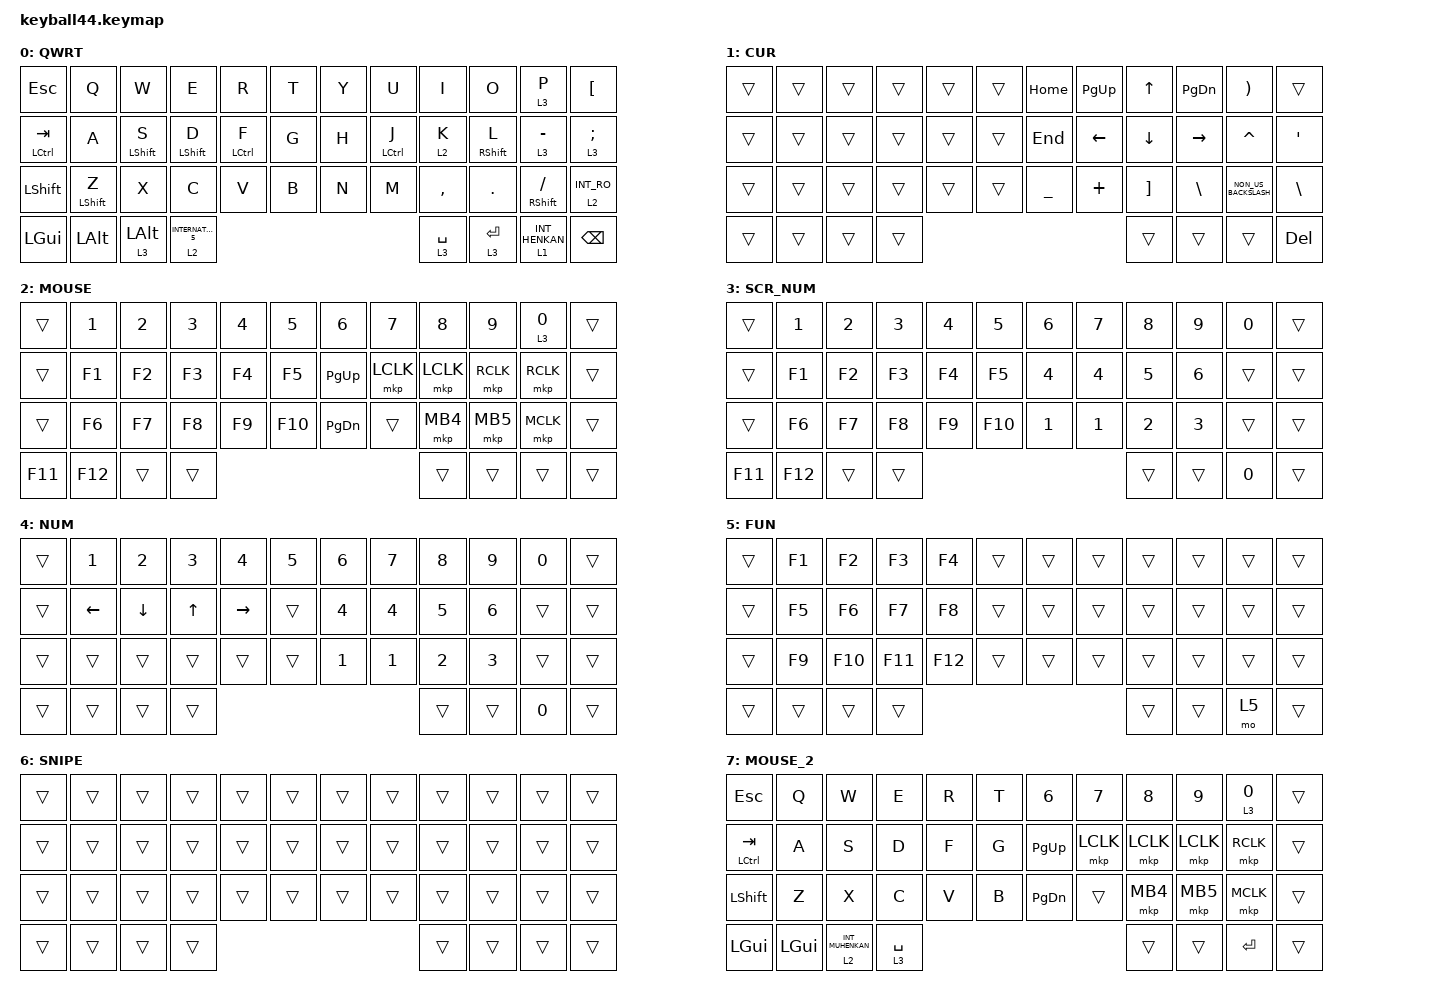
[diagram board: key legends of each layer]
#define DEFAULT 0
#define NUM     1
#define SYM     2
#define FUN     3
#define MOUSE   4
#define SCROLL  5
#define SNIPE   6

#include <behaviors/mouse_keys.dtsi>
#include <dt-bindings/zmk/mouse.h>
#include <behaviors.dtsi>
#include <dt-bindings/zmk/keys.h>
#include <dt-bindings/zmk/pointing.h>

&lt {
    tapping-term-ms = <240>;
    flavor = "balanced";
    quick-tap-ms = <150>;
};

&mt {
    tapping-term-ms = <200>;
    flavor = "tap-preferred";
    quick-tap-ms = <150>;
};

&caps_word { continue-list = <UNDERSCORE MINUS>; };

/ {
    // custom shift using mod-morph 

    behaviors {
        cmqus: comma_question {
            compatible = "zmk,behavior-mod-morph";
            label = "COMMA_QUESTION";
            #binding-cells = <0>;
            bindings = <&kp COMMA>, <&kp QUESTION>;

            mods = <(MOD_LSFT|MOD_RSFT)>;
        };

        dtsmi: dot_semi {
            compatible = "zmk,behavior-mod-morph";
            label = "DOT_SEMI";
            #binding-cells = <0>;
            bindings = <&kp DOT>, <&kp SEMI>;

            mods = <(MOD_LSFT|MOD_RSFT)>;
        };
    };

    combos {
        compatible = "zmk,combos";

        tab {
            bindings = <&kp TAB>;
            key-positions = <15 14>;
        };

        esc {
            bindings = <&kp ESC>;
            key-positions = <2 3>;
        };

        atto {
            bindings = <&kp LEFT_BRACKET>;
            key-positions = <9 8>;
        };

        semi {
            bindings = <&mkp LCLK>;
            key-positions = <19 20>;
        };

        ro {
            bindings = <&kp INT1>;
            key-positions = <32 33>;
        };

        RIGHT_CLICK {
            bindings = <&mkp RCLK>;
            key-positions = <20 21>;
        };
    };

    keymap {
        compatible = "zmk,keymap";

        default_layer {
            label = "QWRT";
            bindings = <
&kp ESCAPE      &kp Q         &kp W             &kp E                  &kp R        &kp T                   &kp Y             &kp U        &kp I      &kp O              &lt 3 P                &kp LBKT
&mt LCTRL TAB   &kp A         &mt LEFT_SHIFT S  &mt LEFT_SHIFT D       &mt LCTRL F  &kp G                   &kp H             &mt LCTRL J  &lt 2 K    &mt RIGHT_SHIFT L  &lt 3 MINUS            &lt 3 SEMICOLON
&kp LEFT_SHIFT  &mt LSHIFT Z  &kp X             &kp C                  &kp V        &kp B                   &kp N             &kp M        &kp COMMA  &kp DOT            &mt RIGHT_SHIFT SLASH  &lt 2 INT_RO
&kp LGUI        &kp LEFT_ALT  &lt 3 LEFT_ALT    &lt 2 INTERNATIONAL_5  &lt 3 SPACE             &lt 3 ENTER  &lt 1 INT_HENKAN                                                                    &kp BACKSPACE
            >;
        };

        cursol_layer {
            label = "CUR";
            bindings = <
&trans  &trans  &trans  &trans  &trans  &trans              &kp HOME        &kp PG_UP  &kp UP    &kp PG_DN  &kp RIGHT_PARENTHESIS  &trans
&trans  &trans  &trans  &trans  &trans  &trans              &kp END         &kp LEFT   &kp DOWN  &kp RIGHT  &kp CARET              &kp APOS
&trans  &trans  &trans  &trans  &trans  &trans              &kp UNDERSCORE  &kp PLUS   &kp RBKT  &kp BSLH   &kp NON_US_BACKSLASH   &kp BSLH
&trans  &trans  &trans  &trans  &trans              &trans  &trans                                                                 &kp DEL
            >;
        };

        mouse_layer {
            label = "MOUSE";
            bindings = <
&trans   &kp N1   &kp N2  &kp N3  &kp N4  &kp N5               &kp N6         &kp N7     &kp N8     &kp N9     &lt 3 NUMBER_0  &trans
&trans   &kp F1   &kp F2  &kp F3  &kp F4  &kp F5               &kp PAGE_UP    &mkp LCLK  &mkp LCLK  &mkp RCLK  &mkp RCLK       &trans
&trans   &kp F6   &kp F7  &kp F8  &kp F9  &kp F10              &kp PAGE_DOWN  &trans     &mkp MB4   &mkp MB5   &mkp MCLK       &trans
&kp F11  &kp F12  &trans  &trans  &trans               &trans  &trans                                                          &trans
            >;
        };

        scroll_number_layer {
            label = "SCR_NUM";
            bindings = <
&trans   &kp N1   &kp N2  &kp N3  &kp N4  &kp N5               &kp N6  &kp N7  &kp N8  &kp N9  &kp N0  &trans
&trans   &kp F1   &kp F2  &kp F3  &kp F4  &kp F5               &kp N4  &kp N4  &kp N5  &kp N6  &trans  &trans
&trans   &kp F6   &kp F7  &kp F8  &kp F9  &kp F10              &kp N1  &kp N1  &kp N2  &kp N3  &trans  &trans
&kp F11  &kp F12  &trans  &trans  &trans               &trans  &kp N0                                  &trans
            >;
        };

        number_layer {
            label = "NUM";
            bindings = <
&trans  &kp NUMBER_1  &kp NUMBER_2  &kp NUMBER_3  &kp NUMBER_4  &kp NUMBER_5              &kp N6        &kp N7  &kp N8  &kp N9  &kp NUMBER_0  &trans
&trans  &kp LEFT      &kp DOWN      &kp UP_ARROW  &kp RIGHT     &trans                    &kp NUMBER_4  &kp N4  &kp N5  &kp N6  &trans        &trans
&trans  &trans        &trans        &trans        &trans        &trans                    &kp NUMBER_1  &kp N1  &kp N2  &kp N3  &trans        &trans
&trans  &trans        &trans        &trans        &trans                          &trans  &kp N0                                              &trans
            >;
        };

        function_layer {
            label = "FUN";
            bindings = <
&trans  &kp F1  &kp F2   &kp F3   &kp F4   &trans              &trans  &trans  &trans  &trans  &trans  &trans
&trans  &kp F5  &kp F6   &kp F7   &kp F8   &trans              &trans  &trans  &trans  &trans  &trans  &trans
&trans  &kp F9  &kp F10  &kp F11  &kp F12  &trans              &trans  &trans  &trans  &trans  &trans  &trans
&trans  &trans  &trans   &trans   &trans               &trans  &mo 5                                   &trans
            >;
        };

        snipe_layer {
            label = "SNIPE";
            bindings = <
&trans  &trans  &trans  &trans  &trans  &trans              &trans  &trans  &trans  &trans  &trans  &trans
&trans  &trans  &trans  &trans  &trans  &trans              &trans  &trans  &trans  &trans  &trans  &trans
&trans  &trans  &trans  &trans  &trans  &trans              &trans  &trans  &trans  &trans  &trans  &trans
&trans  &trans  &trans  &trans  &trans              &trans  &trans                                  &trans
            >;
        };

        layer_7 {
            label = "MOUSE_2";
            bindings = <
&kp ESC               &kp Q     &kp W               &kp E        &kp R   &kp T              &kp N6         &kp N7     &kp N8     &kp N9     &lt 3 NUMBER_0  &trans
&mt LEFT_CONTROL TAB  &kp A     &kp S               &kp D        &kp F   &kp G              &kp PAGE_UP    &mkp LCLK  &mkp LCLK  &mkp LCLK  &mkp RCLK       &trans
&kp LSHFT             &kp Z     &kp X               &kp C        &kp V   &kp B              &kp PAGE_DOWN  &trans     &mkp MB4   &mkp MB5   &mkp MCLK       &trans
&kp LGUI              &kp LGUI  &lt 2 INT_MUHENKAN  &lt 3 SPACE  &trans             &trans  &kp ENTER                                                       &trans
            >;
        };
    };
};
